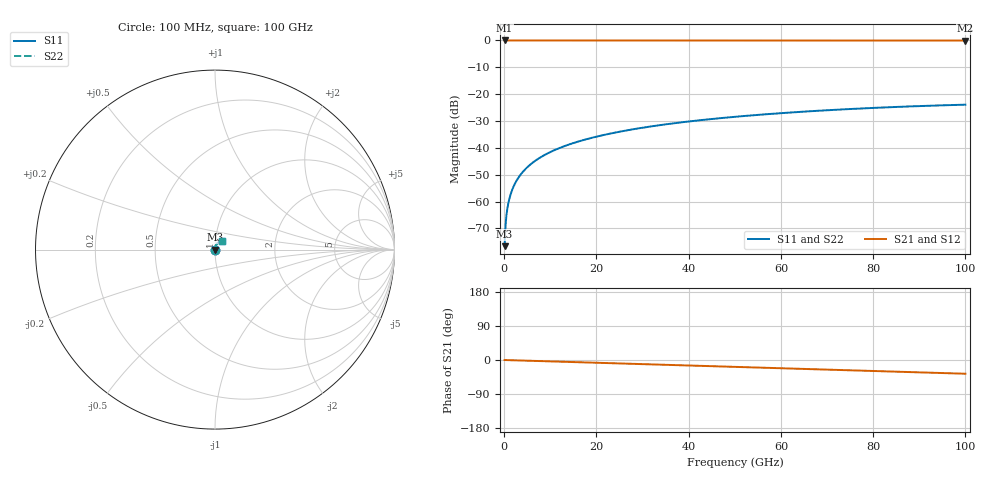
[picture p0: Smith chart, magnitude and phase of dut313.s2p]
! Touchstone file exported from HFSS 2026.1.0
!  File:  C:/ffzhzh/LocalFiles/Ansys_Project_Files/temp_train_TSV_313_1783509382_31944.aedt
!  Generated:  07:17:35 PM Jul  8, 2026
!  Design:  TSV
!  Project:  temp_train_TSV_313_1783509382_31944
! Variables:
!  h_bsmrdl = 2um
!  h_ox = 20um
!  h_rdl = 5um
!  h_sub = 68.09um
!  h_tmrdl = 5um
!  h_tsv = 68.09um
!  h_via = 3um
!  l_bsmrdl = 300um
!  l_sub = 422.96um
!  l_tmrdl = 200um
!  m_sub = 200um
!  pitch = 52.71um
!  r_tsv = 11.48um
!  s_tmrdl = 10um
!  w_bsmrdl = 18um
!  w_sub = 500um
!  w_tmrdl = 12um
!  x_tsv_center1 = 206um
!  x_tsv_center2 = 524um
!  x_tsv_center3 = 736um
!  x_tsv_center4 = 1054um
!  x_tsv_center5 = 1266um
!  x_tsv_center6 = 1584um
# GHz S MA R 50.000000
! Terminal data exported
! Port[1] = TSV1_1_T1
! Port[2] = TSV1_1_T2
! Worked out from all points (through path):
!   1000 points, 100 MHz to 100 GHz, reference 50 ohm
!   highest |S21| = 0.00 dB at 100 MHz (marker M1); lowest = 0.0 dB at 100 GHz (marker M2)
!   group delay of S21, straight-line fit = 1.01 ps
!   lowest |S11| = -76.6 dB at 100 MHz (marker M3), VSWR 1.00, Z = 50 + j0.0116 ohm
!   |S11| at or under -10 dB: start of sweep to end of sweep
!   |S22| runs from -76.6 to -23.9 dB; largest |S21 - S12| = 5.4e-15
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0.1  0.0001475 52.0  0.9999 -0.0  0.9999 -0.0  0.0001475 52.0
! Gamma 0 0 0 0
! Port Impedance 50 0 50 0
0.3  0.0003568 70.6  0.9999 -0.1  0.9999 -0.1  0.0003568 70.6
0.7  0.0007436 75.2  0.9998 -0.3  0.9998 -0.3  0.0007436 75.2
0.8  0.0008334 75.8  0.9998 -0.3  0.9998 -0.3  0.0008334 75.8
1  0.001009 76.8  0.9998 -0.4  0.9998 -0.4  0.001009 76.8
1.3  0.001269 78.0  0.9997 -0.5  0.9997 -0.5  0.001269 78.0
1.8  0.001697 79.3  0.9997 -0.7  0.9997 -0.7  0.001697 79.3
2.3  0.002121 80.1  0.9997 -0.8  0.9997 -0.8  0.002121 80.1
3  0.002706 80.7  0.9996 -1.1  0.9996 -1.1  0.002706 80.7
3.8  0.003365 81.2  0.9996 -1.4  0.9996 -1.4  0.003365 81.2
4.8  0.00418 81.5  0.9995 -1.8  0.9995 -1.8  0.00418 81.5
6  0.00515 81.7  0.9994 -2.2  0.9994 -2.2  0.00515 81.7
8.8  0.007393 81.7  0.9993 -3.2  0.9993 -3.2  0.007393 81.7
12.4  0.01024 81.0  0.9992 -4.5  0.9992 -4.5  0.01024 81.0
16.8  0.01367 80.0  0.999 -6.1  0.999 -6.1  0.01367 80.0
24.2  0.01935 77.9  0.9987 -8.8  0.9987 -8.8  0.01935 78.0
33.4  0.02621 75.1  0.9983 -12.1  0.9983 -12.1  0.02621 75.1
41.2  0.0318 72.5  0.998 -14.9  0.998 -14.9  0.0318 72.5
50.1  0.03789 69.5  0.9977 -18.1  0.9977 -18.1  0.03789 69.5
66.7  0.04826 63.8  0.997 -24.1  0.997 -24.1  0.04826 63.8
83.4  0.05705 57.9  0.9962 -30.2  0.9962 -30.2  0.05705 58.0
100  0.06369 52.1  0.9955 -36.2  0.9955 -36.2  0.06369 52.1
